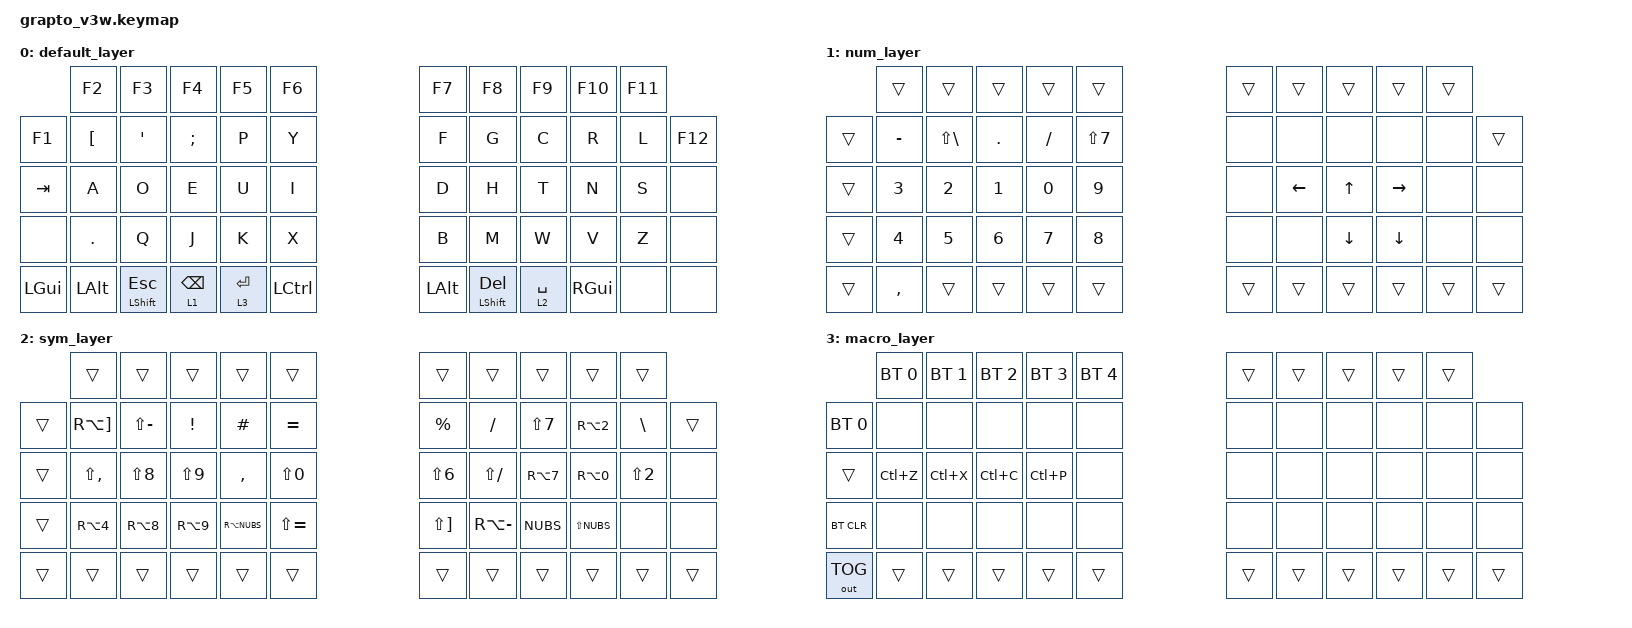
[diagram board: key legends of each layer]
/*
 * Copyright (c) 2022 Herman Lundkvist
 *
 * SPDX-License-Identifier: MIT
 */

#include <behaviors.dtsi>
#include <dt-bindings/zmk/keys.h>
#include <dt-bindings/zmk/bt.h>
#include <dt-bindings/zmk/outputs.h>

#define ESC_SHFT &mt LSHIFT ESC
#define BSPC_NUM &lt 1 BSPC
#define RET_MACRO &lt 3 ENTER
#define DEL_SHFT &mt LSHIFT DEL
#define SPC_SYM &lt 2 SPACE

/ {
	keymap {
		compatible = "zmk,keymap";
		
		default_layer {
// |      | f2    | f3       | f4     | f5           | f6        |             |      |   |        |           | f7       | f8   | f9        | f10  | f11   |      |
// | f1   | å     | ä        | ö      | p            | y         |             |      |   |        |           | f        | g    | c         | r    | l     | f12  |
// | tab  | a     | o        | e      | u            | i         |             |      |   |        |           | d        | h    | t         | n    | s     |      |
// |      | . :   | q        | j      | k            | x         |             |      |   |        |           | b        | m    | w         | v    | z     |      |
// |      |       | gui       | lalt    | esc/shift    | bkspc/num | enter/macro | ctrl |   | lalt   | del/shift | spc/sym  | gui  |           |      |       |      |
// |      |       |          |        |              |           |             |      |   |        |           |          |      |           |      |       |      |

   		bindings = <
           &kp F2   &kp F3    &kp F4    &kp F5      &kp F6                                                      &kp F7   &kp F8   &kp F9   &kp F10 &kp F11
   &kp F1  &kp LBKT &kp SQT   &kp SEMI  &kp P       &kp Y                                      	                &kp F    &kp G    &kp C    &kp R   &kp L   &kp F12
   &kp TAB &kp A    &kp O     &kp E     &kp U       &kp I                           	                        &kp D    &kp H    &kp T    &kp N   &kp S   &none
   &none   &kp DOT  &kp Q     &kp J     &kp K       &kp X			             	                &kp B    &kp M    &kp W    &kp V   &kp Z   &none
                    &kp LGUI  &kp LALT  ESC_SHFT    BSPC_NUM       RET_MACRO    &kp LCTRL   &kp LALT DEL_SHFT   SPC_SYM  &kp RGUI &none    &none

			    >; 
		};

		num_layer {
// |     | f2       | f3         | f4    | f5        | f6        |             |      |   |      |              | f7      | f8     | f9    | f10      | f11 |     |
// | f1  |  +       |  *         | .     | -         | /         |             |      |   |      |              |         |        |       |          |     | f12 |
// | tab |  3       |  2         | 1     | 0         | 9         |             |      |   |      |              |         | left   | up    | right    |     |     |
// |     |  4       |  5         | 6     | 7         | 8         |             |      |   |      |              |         |        | down  |          |     |     |
// |     |          |            | ,     | esc/shift | bkspc/num | enter/macro | ctrl |   | lalt | delete/shift | spc/sym | gui    |       |          |     |     |

   		bindings = <
           &trans    &trans       &trans    &trans      &trans                                                   &trans   &trans    &trans   &trans    &trans
   &trans  &kp MINUS &kp LS(BSLH) &kp DOT   &kp FSLH    &kp LS(N7)                                               &none    &none     &none    &none     &none     &trans
   &trans  &kp N3    &kp N2       &kp N1    &kp N0      &kp N9                         	                         &none    &kp LEFT  &kp UP   &kp RIGHT &none     &none
   &trans  &kp N4    &kp N5       &kp N6    &kp N7      &kp N8			             	                 &none    &none     &kp DOWN &kp DOWN  &none     &none
                     &trans       &kp COMMA &trans      &trans    &trans       &trans      &trans &trans &trans  &trans   &trans    &trans
			    >; 

		};

		sym_layer {
// |      | f2          | f3          | f4      | f5          | f6        |             |      |   |      |           | f7          | f8          | f9       | f10       | f11      |     |
// | f1   | ~           | ?           | !       | #           | ´         |             |      |   |      |           | %           | -           | /        | @         | '        | f12 |
// | tab  | ;           | (           | )       | ,           | =         |             |      |   |      |           | &           | _           | {        | }         | "        |     |
// |      | $           | [           | ]       | pipe        | `         |             |      |   |      |           | ^           | \           | <        | >         |          |     |
// |      |             |             |         | esc/shift   | bkspc/num | enter/macro | ctrl |   | lalt | del/shift | spc/sym     | gui         |          |           |          |

   		bindings = <
           &trans        &trans        &trans     &trans       &trans                                                  &trans        &trans        &trans     &trans       &trans
   &trans  &kp RA(RBKT)  &kp LS(MINUS) &kp EXCL   &kp HASH     &kp EQUAL                                               &kp PERCENT   &kp FSLH      &kp LS(N7) &kp RA(N2)   &kp BSLH   &trans
   &trans  &kp LS(COMMA) &kp LS(N8)    &kp LS(N9) &kp COMMA    &kp LS(N0)                         	               &kp LS(N6)    &kp LS(FSLH)  &kp RA(N7) &kp RA(N0)   &kp LS(N2) &none
   &trans  &kp RA(N4)    &kp RA(N8)    &kp RA(N9) &kp RA(NUBS) &kp LS(EQUAL)	             	                       &kp LS(RBKT)  &kp RA(MINUS) &kp NUBS   &kp LS(NUBS) &none      &none
                         &trans        &trans     &trans       &trans       &trans       &trans     &trans &trans      &trans        &trans        &trans     &trans
			    >; 
		};

		macro_layer {

// |           | f2          | f3         | f4         | f5         | f6        |             |      |   |      |              | f7      | f8  | f9 | f10 | f11 |     |
// | f1        |             |            |            |            |           |             |      |   |      |              | ½       | %   | !  | @   | §   | f12 |
// | tab       | undo        | cut        | copy       | paste      |           |             |      |   |      |              | &       | _   | {  | }   | "   |     |
// |           |             |            |            |            |           |             |      |   |      |              | ^       | \   | <  | >   | '   |     |
// |           |             |            |            | esc/shift  | bkspc/num | enter/macro | ctrl |   | lalt | delete/shift | spc/sym | gui |    |     |     |     |

   		bindings = <
                 &bt BT_SEL 0 &bt BT_SEL 1 &bt BT_SEL 2 &bt BT_SEL 3 &bt BT_SEL 4                                                    &trans &trans &trans &trans &trans
   &bt BT_SEL 0  &none        &none        &none        &none        &none                                                     &none  &none  &none  &none  &none &none 
   &trans        &kp LC(Z)    &kp LC(X)    &kp LC(C)    &kp LC(P)    &none                                                     &none  &none  &none  &none  &none &none 
   &bt BT_CLR    &none        &none        &none        &none        &none                                                     &none  &none  &none  &none  &none &none 
                              &out OUT_TOG &trans       &trans       &trans       &trans       &trans     &trans &trans        &trans &trans &trans &trans
			    >; 

		};
	};
};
